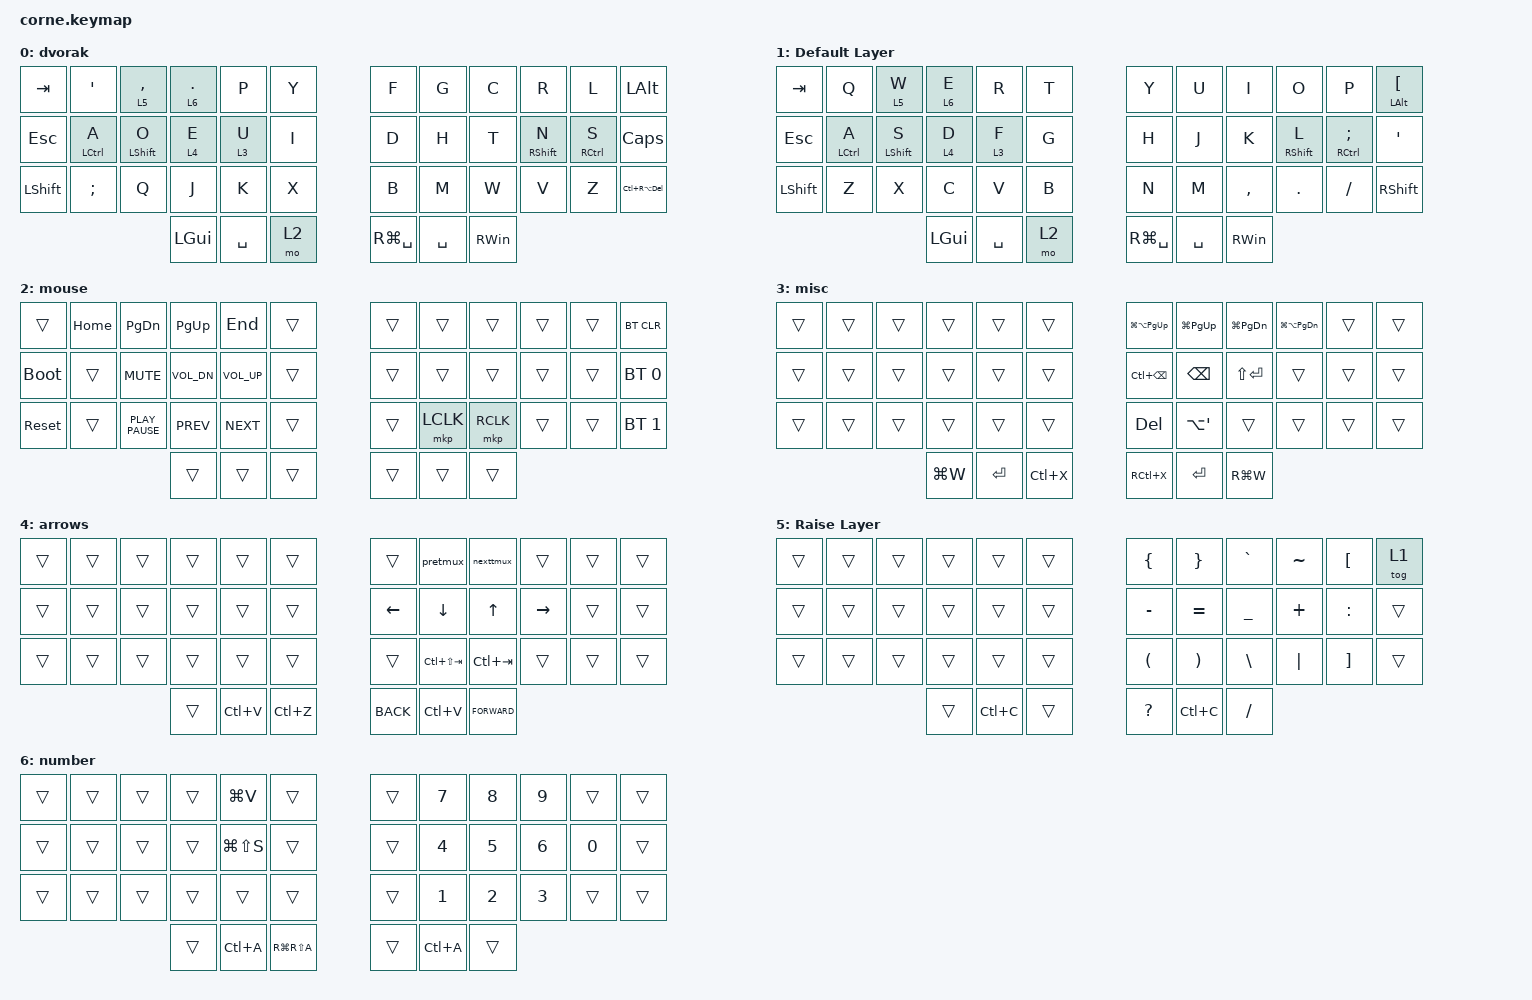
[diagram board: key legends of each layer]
/*
 * Copyright (c) 2020 The ZMK Contributors
 *
 * SPDX-License-Identifier: MIT
 */

#include <behaviors.dtsi>
#include <dt-bindings/zmk/bt.h>
#include <dt-bindings/zmk/keys.h>
#include <dt-bindings/zmk/pointing.h>

&mt {
};

/ {
    macros {
        pretmux: ctrlAP {
            compatible = "zmk,behavior-macro";
            #binding-cells = <0>;
            bindings = <&kp LC(A) &kp P>;
            label = "CTRLAP";
        };

        nexttmux: ctrlAN {
            compatible = "zmk,behavior-macro";
            #binding-cells = <0>;
            bindings = <&kp LC(A) &kp N>;
            label = "CTRLAN";
        };
    };

    behaviors {
        hml: hml {
            compatible = "zmk,behavior-hold-tap";
            label = "Home Row Mod Left";
            bindings = <&kp>, <&kp>;

            #binding-cells = <2>;
            tapping-term-ms = <200>;
            quick-tap-ms = <175>;
            require-prior-idle-ms = <150>;
            flavor = "balanced";
            hold-trigger-key-positions = <6 7 8 9 10 11 18 19 20 21 22 23 30 31 32 33 34 35 39 40 41>;
            hold-trigger-on-release;
        };

        hmr: hmr {
            compatible = "zmk,behavior-hold-tap";
            label = "Home Row Mod Right";
            bindings = <&kp>, <&kp>;

            #binding-cells = <2>;
            tapping-term-ms = <200>;
            quick-tap-ms = <175>;
            require-prior-idle-ms = <150>;
            flavor = "balanced";
            hold-trigger-key-positions = <0 1 2 3 4 5 12 13 14 15 16 17 24 25 26 27 28 29 36 37 38>;
            hold-trigger-on-release;
        };
    };

    keymap {
        compatible = "zmk,keymap";

        dvorak {
            display-name = "dvorak";
            bindings = <
&kp TAB         &kp SINGLE_QUOTE  &lt 5 COMMA        &lt 6 DOT  &kp P      &kp Y    &kp F          &kp G      &kp C          &kp R               &kp L                 &kp LEFT_ALT
&kp ESC         &hml LCTRL A      &hml LEFT_SHIFT O  &lt 4 E    &lt 3 U    &kp I    &kp D          &kp H      &kp T          &hmr RIGHT_SHIFT N  &hmr RIGHT_CONTROL S  &kp CLCK
&kp LEFT_SHIFT  &kp SEMI          &kp Q              &kp J      &kp K      &kp X    &kp B          &kp M      &kp W          &kp V               &kp Z                 &kp LC(RA(DEL))
                                                     &kp LGUI   &kp SPACE  &mo 2    &kp RG(SPACE)  &kp SPACE  &kp RIGHT_WIN
            >;
        };

        default_layer {
            display-name = "Default Layer";

            // -----------------------------------------------------------------------------------------
            // |  TAB |  Q  |  W  |  E  |  R  |  T  |   |  Y  |  U   |  I  |  O  |  P  | BSPC |
            // | CTRL |  A  |  S  |  D  |  F  |  G  |   |  H  |  J   |  K  |  L  |  ;  |  '   |
            // | SHFT |  Z  |  X  |  C  |  V  |  B  |   |  N  |  M   |  ,  |  .  |  /  | ESC  |
            //                    | GUI | LWR | SPC |   | ENT | RSE  | ALT |

            bindings = <
&kp TAB         &kp Q         &lt 5 W            &lt 6 E   &kp R      &kp T    &kp Y          &kp U      &kp I          &kp O               &kp P                 &mt LEFT_ALT LEFT_BRACKET
&kp ESC         &hml LCTRL A  &hml LEFT_SHIFT S  &lt 4 D   &lt 3 F    &kp G    &kp H          &kp J      &kp K          &hmr RIGHT_SHIFT L  &hmr RCTRL SEMICOLON  &kp SQT
&kp LEFT_SHIFT  &kp Z         &kp X              &kp C     &kp V      &kp B    &kp N          &kp M      &kp COMMA      &kp DOT             &kp FSLH              &kp RIGHT_SHIFT
                                                 &kp LGUI  &kp SPACE  &mo 2    &kp RG(SPACE)  &kp SPACE  &kp RIGHT_WIN
            >;
        };

        mouse {
            bindings = <
&trans       &kp HOME  &kp PAGE_DOWN     &kp PG_UP     &kp END       &trans    &trans  &trans     &trans     &trans  &trans  &bt BT_CLR
&bootloader  &trans    &kp K_MUTE        &kp C_VOL_DN  &kp C_VOL_UP  &trans    &trans  &trans     &trans     &trans  &trans  &bt BT_SEL 0
&sys_reset   &trans    &kp K_PLAY_PAUSE  &kp K_PREV    &kp K_NEXT    &trans    &trans  &mkp LCLK  &mkp RCLK  &trans  &trans  &bt BT_SEL 1
                                         &trans        &trans        &trans    &trans  &trans     &trans
            >;
        };

        misc {
            bindings = <
&trans  &trans  &trans  &trans     &trans     &trans       &kp LG(LA(PG_UP))  &kp LG(PG_UP)         &kp LG(PAGE_DOWN)  &kp LG(LA(PAGE_DOWN))  &trans  &trans
&trans  &trans  &trans  &trans     &trans     &trans       &kp LC(BACKSPACE)  &kp BACKSPACE         &kp LS(ENTER)      &trans                 &trans  &trans
&trans  &trans  &trans  &trans     &trans     &trans       &kp DEL            &kp LA(SINGLE_QUOTE)  &trans             &trans                 &trans  &trans
                        &kp LG(W)  &kp ENTER  &kp LC(X)    &kp RC(X)          &kp RET               &kp RG(W)
            >;
        };

        arrows {
            bindings = <
&trans  &trans  &trans  &trans  &trans     &trans       &trans      &pretmux         &nexttmux      &trans     &trans  &trans
&trans  &trans  &trans  &trans  &trans     &trans       &kp LEFT    &kp DOWN         &kp UP         &kp RIGHT  &trans  &trans
&trans  &trans  &trans  &trans  &trans     &trans       &trans      &kp LC(LS(TAB))  &kp LC(TAB)    &trans     &trans  &trans
                        &trans  &kp LC(V)  &kp LC(Z)    &kp K_BACK  &kp LC(V)        &kp K_FORWARD
            >;
        };

        marks {
            display-name = "Raise Layer";

            // -----------------------------------------------------------------------------------------
            // |  TAB |  !  |  @  |  #  |  $  |  %  |   |  ^  |  &  |  *  |  (  |  )  | BSPC |
            // | CTRL |     |     |     |     |     |   |  -  |  =  |  [  |  ]  |  \  |  `   |
            // | SHFT |     |     |     |     |     |   |  _  |  +  |  {  |  }  | "|" |  ~   |
            //                    | GUI |     | SPC |   | ENT |     | ALT |

            bindings = <
&trans  &trans  &trans  &trans  &trans     &trans    &kp LEFT_BRACE  &kp RIGHT_BRACE  &kp GRAVE      &kp TILDE  &kp LBKT   &tog 1
&trans  &trans  &trans  &trans  &trans     &trans    &kp MINUS       &kp EQUAL        &kp UNDER      &kp PLUS   &kp COLON  &trans
&trans  &trans  &trans  &trans  &trans     &trans    &kp LPAR        &kp RPAR         &kp BACKSLASH  &kp PIPE   &kp RBKT   &trans
                        &trans  &kp LC(C)  &trans    &kp QUESTION    &kp LC(C)        &kp SLASH
            >;
        };

        number {
            bindings = <
&trans  &trans  &trans  &trans  &kp LG(V)      &trans           &trans  &kp N7     &kp N8  &kp N9  &trans  &trans
&trans  &trans  &trans  &trans  &kp LG(LS(S))  &trans           &trans  &kp N4     &kp N5  &kp N6  &kp N0  &trans
&trans  &trans  &trans  &trans  &trans         &trans           &trans  &kp N1     &kp N2  &kp N3  &trans  &trans
                        &trans  &kp LC(A)      &kp RG(RS(A))    &trans  &kp LC(A)  &trans
            >;
        };
    };
};
